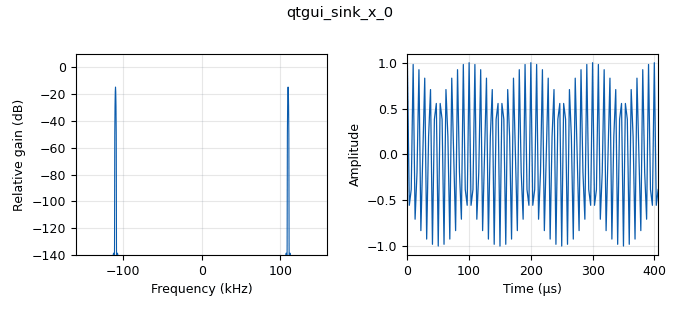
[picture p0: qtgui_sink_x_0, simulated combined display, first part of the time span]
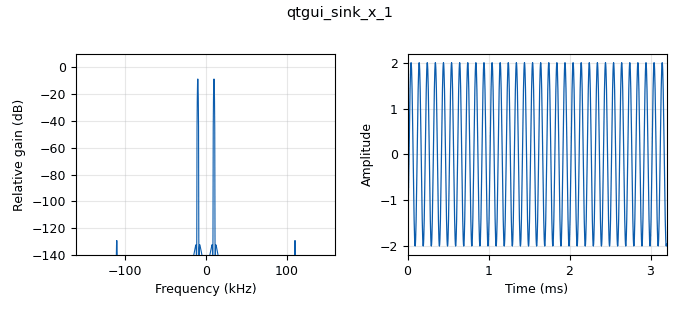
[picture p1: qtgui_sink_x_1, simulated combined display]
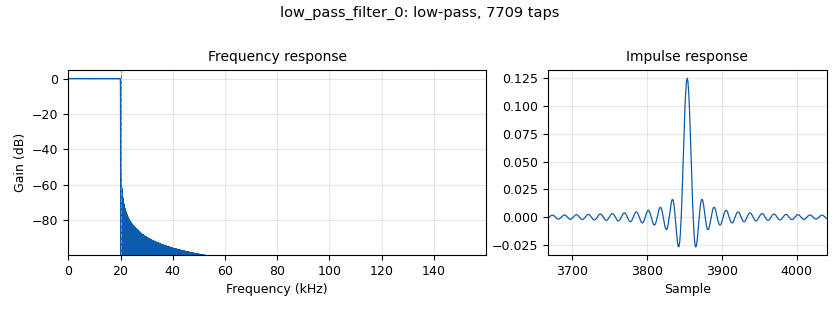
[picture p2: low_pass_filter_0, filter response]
options:
  parameters:
    author: shrut
    generate_options: qt_gui
    id: SSBSC
    output_language: python
    title: Not titled yet
  states: {}

blocks:
- name: samp_rate
  id: variable
  parameters:
    value: '320000'
  states: {}
- name: analog_sig_source_x_0
  id: analog_sig_source_x
  parameters:
    amp: '1'
    freq: '200000'
    offset: '0'
    phase: '0'
    samp_rate: '640000'
    type: complex
    waveform: analog.GR_COS_WAVE
  states: {}
- name: analog_sig_source_x_1
  id: analog_sig_source_x
  parameters:
    amp: '1'
    freq: '10000'
    offset: '0'
    phase: '0'
    samp_rate: samp_rate
    type: float
    waveform: analog.GR_SIN_WAVE
  states: {}
- name: analog_sig_source_x_2
  id: analog_sig_source_x
  parameters:
    amp: '1'
    freq: '10000'
    offset: '0'
    phase: '0'
    samp_rate: samp_rate
    type: float
    waveform: analog.GR_COS_WAVE
  states: {}
- name: analog_sig_source_x_3
  id: analog_sig_source_x
  parameters:
    amp: '1'
    freq: '200000'
    offset: '0'
    phase: '0'
    samp_rate: '640000'
    type: float
    waveform: analog.GR_COS_WAVE
  states: {}
- name: blocks_complex_to_float_0
  id: blocks_complex_to_float
  parameters: {}
  states: {}
- name: blocks_multiply_const_vxx_0
  id: blocks_multiply_const_vxx
  parameters:
    const: '4'
    type: float
  states: {}
- name: blocks_multiply_xx_0
  id: blocks_multiply_xx
  parameters:
    type: float
  states: {}
- name: blocks_multiply_xx_1
  id: blocks_multiply_xx
  parameters:
    type: float
  states: {}
- name: blocks_multiply_xx_2
  id: blocks_multiply_xx
  parameters:
    type: float
  states: {}
- name: blocks_sub_xx_0
  id: blocks_sub_xx
  parameters:
    type: float
  states: {}
- name: low_pass_filter_0
  id: low_pass_filter
  parameters:
    cutoff_freq: '20000'
    decim: '1'
    gain: '1'
    samp_rate: samp_rate
    type: fir_filter_fff
    width: '100'
    win: window.WIN_HAMMING
  states: {}
- name: qtgui_sink_x_0
  id: qtgui_sink_x
  parameters:
    bw: samp_rate
    fc: '0'
    fftsize: '1024'
    type: float
  states: {}
- name: qtgui_sink_x_1
  id: qtgui_sink_x
  parameters:
    bw: samp_rate
    fc: '0'
    fftsize: '1024'
    type: float
  states: {}
- name: virtual_sink_0
  id: virtual_sink
  parameters:
    stream_id: Modulated_Signal
  states: {}
- name: virtual_source_0
  id: virtual_source
  parameters:
    stream_id: Modulated_Signal
  states: {}

connections:
- [analog_sig_source_x_0, '0', blocks_complex_to_float_0, '0']
- [analog_sig_source_x_1, '0', blocks_multiply_xx_1, '1']
- [analog_sig_source_x_2, '0', blocks_multiply_xx_0, '0']
- [analog_sig_source_x_3, '0', blocks_multiply_xx_2, '1']
- [blocks_complex_to_float_0, '0', blocks_multiply_xx_0, '1']
- [blocks_complex_to_float_0, '1', blocks_multiply_xx_1, '0']
- [blocks_multiply_const_vxx_0, '0', qtgui_sink_x_1, '0']
- [blocks_multiply_xx_0, '0', blocks_sub_xx_0, '0']
- [blocks_multiply_xx_1, '0', blocks_sub_xx_0, '1']
- [blocks_multiply_xx_2, '0', low_pass_filter_0, '0']
- [blocks_sub_xx_0, '0', qtgui_sink_x_0, '0']
- [blocks_sub_xx_0, '0', virtual_sink_0, '0']
- [low_pass_filter_0, '0', blocks_multiply_const_vxx_0, '0']
- [virtual_source_0, '0', blocks_multiply_xx_2, '0']

metadata:
  file_format: 1
  grc_version: 3.10.7.0
